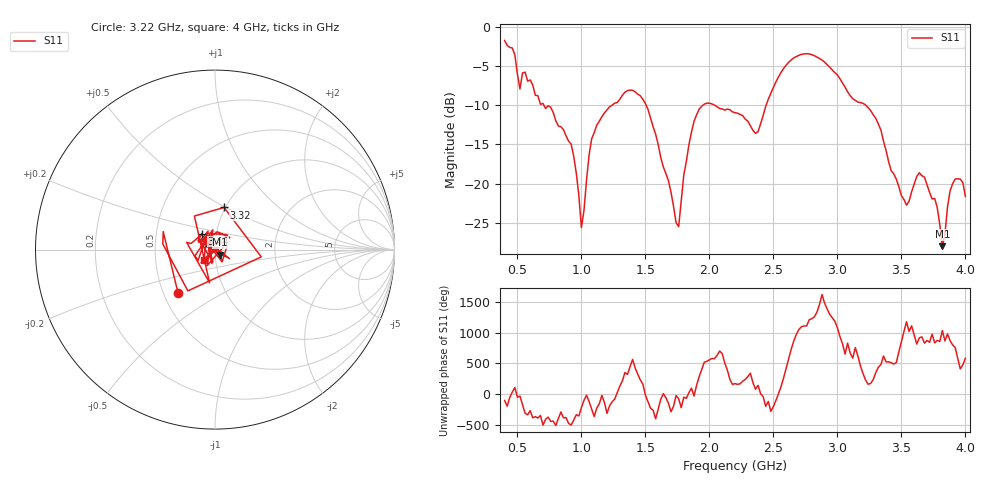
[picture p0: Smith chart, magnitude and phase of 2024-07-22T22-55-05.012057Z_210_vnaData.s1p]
!Created with skrf (http://scikit-rf.org).
# Hz S RI R 50.0
!freq ReS11 ImS11
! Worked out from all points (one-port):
!   181 points, 400 MHz to 4 GHz, reference 50 ohm
!   lowest |S11| = -28.0 dB at 3.82 GHz (marker M1), VSWR 1.08, Z = 52.8 - j2.96 ohm
!   |S11| at or under -10 dB: 707.3 MHz to 1.238 GHz (530.9 MHz wide, 54.6 % of centre); 1.506 GHz to 1.948 GHz (442.2 MHz wide, 25.6 % of centre); 3.222 GHz to end of sweep (the widest 3 of 4)
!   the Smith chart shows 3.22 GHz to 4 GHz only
!   S11 on the Smith chart (normalised r, x): 3.22 GHz: 0.59, -0.32; 3.32 GHz: 0.99, +0.49; 3.44 GHz: 0.85, +0.15; 4 GHz: 0.88, -0.10
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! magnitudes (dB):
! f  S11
! 400 MHz  -1.7
! 480 MHz  -3.5
! 520 MHz  -7.9
! 560 MHz  -5.8
! 860 MHz  -13.1
! 940 MHz  -16.5
! 1 GHz  -25.6
! 1.08 GHz  -14.3
! 1.3 GHz  -9.2
! 1.5 GHz  -9.8
! 1.76 GHz  -25.5
! 1.84 GHz  -15.0
! 1.92 GHz  -10.5
! 2.2 GHz  -10.9
! 2.38 GHz  -13.4
! 2.52 GHz  -7.0
! 2.66 GHz  -3.9
! 2.88 GHz  -4.2
! 3.1 GHz  -8.8
! 3.22 GHz  -10.0
! 3.32 GHz  -12.4
! 3.44 GHz  -18.7
! 3.56 GHz  -22.3
! 3.68 GHz  -19.2
! 3.78 GHz  -23.1
! 3.82 GHz  -28.0
! 3.9 GHz  -20.0
! 4 GHz  -21.6
